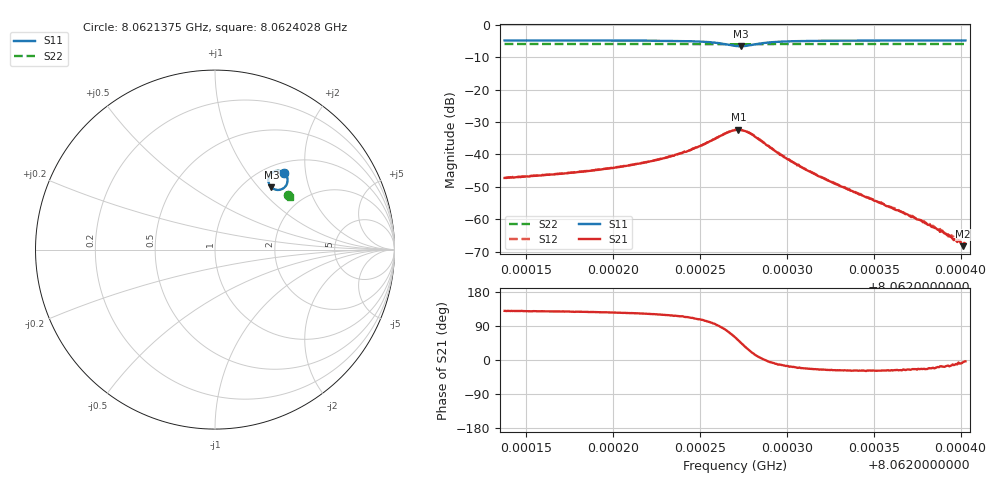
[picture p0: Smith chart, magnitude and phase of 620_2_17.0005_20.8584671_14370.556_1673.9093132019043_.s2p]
#  HZ  S  RI  R  50.00
! Rohde & Schwarz Vector Network Analyzer
! Rohde-Schwarz,ZNB20-2Port,1311601062101988,3.16
! Created: UTC 3/20/2024, 11:19:54 PM
! freq[Hz]  re:S11  im:S11  re:S21  im:S21  re:S12  im:S12  re:S22  im:S22
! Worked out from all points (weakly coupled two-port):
!   401 points, 8.0621375 GHz to 8.0624028 GHz, reference 50 ohm
!   highest |S21| = -32.35 dB at 8.0622721 GHz (marker M1); lowest = -68.3 dB at 8.0624014 GHz (marker M2)
!   lowest |S11| = -6.6 dB at 8.0622734 GHz (marker M3), VSWR 2.76, Z = 66.1 + j58.7 ohm
!   |S11| at or under -10 dB: nowhere
!   |S22| runs from -6.0 to -5.9 dB; largest |S21 - S12| = 0.0014
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8.06213745e9  0.3869 0.4266  -0.00277 0.00334  -0.00258 0.00356  0.407 0.304
8.06218189e9  0.3924 0.4202  -0.00328 0.00433  -0.00302 0.00459  0.4089 0.3014
8.06220445e9  0.3962 0.4148  -0.0037 0.00532  -0.00339 0.00561  0.4097 0.3001
8.06222634e9  0.4009 0.4054  -0.0042 0.00726  -0.0038 0.00758  0.4105 0.2986
8.06224358e9  0.4043 0.3893  -0.0044 0.0106  -0.00378 0.0109  0.4109 0.297
8.0622522e9  0.4029 0.3736  -0.00359 0.014  -0.00276 0.0141  0.411 0.2959
8.0622595e9  0.3935 0.3534  -0.000846 0.0181  0.000172 0.0181  0.4105 0.2949
8.06226613e9  0.3657 0.3345  0.00572 0.0213  0.00697 0.0211  0.4094 0.2939
8.06227011e9  0.3375 0.334  0.0118 0.0205  0.013 0.0201  0.4082 0.2943
8.0622721e9  0.3227 0.3402  0.015 0.0189  0.016 0.018  0.4076 0.2945
8.06227343e9  0.314 0.3469  0.0167 0.0171  0.0177 0.0162  0.4075 0.2949
8.0622794e9  0.2973 0.3882  0.0193 0.00762  0.0199 0.00654  0.4075 0.2968
8.06228869e9  0.318 0.4282  0.0138 -0.000611  0.0138 -0.00141  0.4092 0.2977
8.06230328e9  0.3478 0.4394  0.00725 -0.0024  0.00711 -0.00288  0.4111 0.2972
8.06231455e9  0.3596 0.4387  0.00476 -0.0021  0.00469 -0.00245  0.412 0.2964
8.06232649e9  0.3673 0.4369  0.00326 -0.00165  0.00321 -0.00189  0.4128 0.2956
8.062359e9  0.3781 0.4323  0.00136 -0.000722  0.00137 -0.000776  0.4141 0.2937
8.06237757e9  0.3817 0.4302  0.000877 -0.00038  0.000852 -0.000427  0.415 0.2927
8.06239017e9  0.3837 0.4289  0.000594 -0.000189  0.000589 -0.000223  0.4153 0.2922
8.06239548e9  0.3844 0.4282  0.000488 -0.0001  0.000515 -0.000163  0.4156 0.2915
8.06240145e9  0.3851 0.4277  0.000382 -3.91e-05  0.000408 -8.46e-05  0.4157 0.2914
8.06240277e9  0.3853 0.4277  0.000419 -2.63e-05  0.000408 -7.3e-05  0.4158 0.2913
